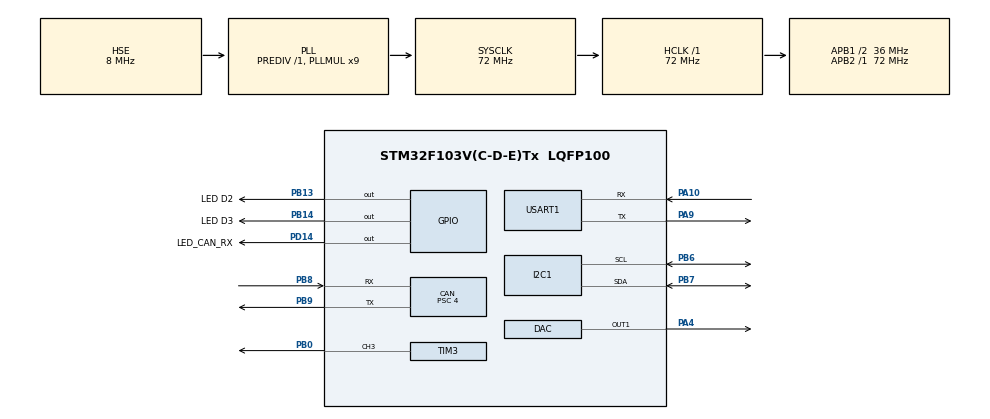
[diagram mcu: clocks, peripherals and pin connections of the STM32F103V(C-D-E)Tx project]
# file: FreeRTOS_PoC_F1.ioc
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ADC1.Channel-0\#ChannelRegularConversion=ADC_CHANNEL_TEMPSENSOR
ADC1.NbrOfConversion=1
ADC1.NbrOfConversionFlag=1
ADC1.Rank-0\#ChannelRegularConversion=1
ADC1.SamplingTime-0\#ChannelRegularConversion=ADC_SAMPLETIME_239CYCLES_5
ADC1.master=1
CAN.BS1=CAN_BS1_14TQ
CAN.BS2=CAN_BS2_3TQ
CAN.CalculateBaudRate=500000
CAN.CalculateTimeBit=2000
CAN.CalculateTimeQuantum=111.11111111111111
CAN.NART=ENABLE
CAN.Prescaler=4
CAN.SJW=CAN_SJW_1TQ
DAC.DAC_Trigger=DAC_TRIGGER_T6_TRGO
Dma.DAC_CH1.1.Direction=DMA_MEMORY_TO_PERIPH
Dma.DAC_CH1.1.Instance=DMA2_Channel3
Dma.DAC_CH1.1.MemDataAlignment=DMA_MDATAALIGN_HALFWORD
Dma.DAC_CH1.1.MemInc=DMA_MINC_ENABLE
Dma.DAC_CH1.1.Mode=DMA_CIRCULAR
Dma.DAC_CH1.1.PeriphDataAlignment=DMA_PDATAALIGN_HALFWORD
Dma.DAC_CH1.1.PeriphInc=DMA_PINC_DISABLE
Dma.DAC_CH1.1.Priority=DMA_PRIORITY_HIGH
Dma.Request0=USART1_TX
Dma.Request1=DAC_CH1
Dma.USART1_TX.0.Direction=DMA_MEMORY_TO_PERIPH
Dma.USART1_TX.0.Instance=DMA1_Channel4
Dma.USART1_TX.0.MemDataAlignment=DMA_MDATAALIGN_BYTE
Dma.USART1_TX.0.MemInc=DMA_MINC_ENABLE
Dma.USART1_TX.0.Mode=DMA_NORMAL
Dma.USART1_TX.0.PeriphDataAlignment=DMA_PDATAALIGN_BYTE
Dma.USART1_TX.0.PeriphInc=DMA_PINC_DISABLE
Dma.USART1_TX.0.Priority=DMA_PRIORITY_LOW
FREERTOS.Tasks01=defaultTask,8,256,StartDefaultTask,Default,NULL,Dynamic,NULL,NULL;uartTask,24,256,StartUartTask,Default,NULL,Dynamic,NULL,NULL;speechConvTask,24,256,StartSpeechConvTask,Default,NULL,Dynamic,NULL,NULL;audioPlaybackTa,32,384,StartAudioPlaybackTask,Default,NULL,Dynamic,NULL,NULL
FREERTOS.configCHECK_FOR_STACK_OVERFLOW=2
FREERTOS.configGENERATE_RUN_TIME_STATS=1
FREERTOS.configTOTAL_HEAP_SIZE=9216
FREERTOS.configUSE_MALLOC_FAILED_HOOK=1
FREERTOS.configUSE_NEWLIB_REENTRANT=1
FREERTOS.configUSE_STATS_FORMATTING_FUNCTIONS=1
Mcu.Family=STM32F1
Mcu.Name=STM32F103V(C-D-E)Tx
Mcu.Package=LQFP100
NVIC.ADC1_2_IRQn=true\:5\:0\:false\:false\:true\:true\:true\:true\:true
NVIC.DMA1_Channel4_IRQn=true\:5\:0\:false\:false\:true\:true\:false\:true\:true
NVIC.DMA2_Channel3_IRQn=true\:5\:0\:false\:false\:true\:true\:false\:true\:true
NVIC.PriorityGroup=NVIC_PRIORITYGROUP_4
NVIC.TIM2_IRQn=true\:4\:0\:true\:false\:true\:false\:false\:true\:true
NVIC.TIM4_IRQn=true\:5\:0\:false\:false\:true\:true\:true\:true\:true
NVIC.TimeBase=TIM2_IRQn
NVIC.TimeBaseIP=TIM2
NVIC.USART1_IRQn=true\:5\:0\:false\:false\:true\:true\:true\:true\:true
NVIC.USB_LP_CAN1_RX0_IRQn=true\:5\:0\:false\:false\:true\:true\:true\:true\:true
OSC_IN.Mode=HSE-External-Oscillator
OSC_IN.Signal=RCC_OSC_IN
OSC_OUT.Mode=HSE-External-Oscillator
OSC_OUT.Signal=RCC_OSC_OUT
PA10.Mode=Asynchronous
PA10.Signal=USART1_RX
PA13.Mode=Serial_Wire
PA13.Signal=SYS_JTMS-SWDIO
PA14.Mode=Serial_Wire
PA14.Signal=SYS_JTCK-SWCLK
PA4.Signal=COMP_DAC1_group
PA9.Mode=Asynchronous
PA9.Signal=USART1_TX
PB0.Signal=S_TIM3_CH3
PB13.GPIO_Label=LED D2
PB13.GPIO_ModeDefaultOutputPP=GPIO_MODE_OUTPUT_OD
PB13.GPIO_PuPd=GPIO_NOPULL
PB13.PinState=GPIO_PIN_SET
PB13.Signal=GPIO_Output
PB14.GPIO_Label=LED D3
PB14.GPIO_ModeDefaultOutputPP=GPIO_MODE_OUTPUT_OD
PB14.GPIO_PuPd=GPIO_NOPULL
PB14.PinState=GPIO_PIN_SET
PB14.Signal=GPIO_Output
PB6.Mode=I2C
PB6.Signal=I2C1_SCL
PB7.Mode=I2C
PB7.Signal=I2C1_SDA
PB8.GPIO_PuPd=GPIO_PULLUP
PB8.Mode=CAN_Activate
PB8.Signal=CAN_RX
PB9.GPIO_Speed=GPIO_SPEED_FREQ_HIGH
PB9.Mode=CAN_Activate
PB9.Signal=CAN_TX
PC14-OSC32_IN.Mode=LSE-External-Oscillator
PC14-OSC32_IN.Signal=RCC_OSC32_IN
PC15-OSC32_OUT.Mode=LSE-External-Oscillator
PC15-OSC32_OUT.Signal=RCC_OSC32_OUT
PD14.GPIO_Label=LED_CAN_RX
PD14.Signal=GPIO_Output
ProjectManager.HeapSize=0x200
ProjectManager.StackSize=0x400
ProjectManager.TargetToolchain=STM32CubeIDE
RCC.ADCPresc=RCC_ADCPCLK2_DIV6
RCC.AHBFreq_Value=72000000
RCC.APB1CLKDivider=RCC_HCLK_DIV2
RCC.APB1Freq_Value=36000000
RCC.APB1TimFreq_Value=72000000
RCC.APB2Freq_Value=72000000
RCC.APB2TimFreq_Value=72000000
RCC.HCLKFreq_Value=72000000
RCC.HSICalibrationValue=8
RCC.PLLMUL=RCC_PLL_MUL9
RCC.PLLSourceVirtual=RCC_PLLSOURCE_HSE
RCC.RTCClockSelection=RCC_RTCCLKSOURCE_LSE
RCC.SYSCLKFreq_VALUE=72000000
RCC.SYSCLKSource=RCC_SYSCLKSOURCE_PLLCLK
RCC.USBFreq_Value=72000000
SH.COMP_DAC1_group.0=DAC_OUT1,DAC_OUT1
SH.S_TIM3_CH3.0=TIM3_CH3,PWM Generation3 CH3
TIM3.Channel-PWM\ Generation3\ CH3=TIM_CHANNEL_3
TIM3.Period=999
TIM3.Prescaler=71
TIM4.Period=9999
TIM4.Prescaler=71
TIM6.AutoReloadPreload=TIM_AUTORELOAD_PRELOAD_ENABLE
TIM6.Period=3264
TIM6.TIM_MasterOutputTrigger=TIM_TRGO_UPDATE
USART1.VirtualMode=VM_ASYNC
VP_ADC1_TempSens_Input.Mode=IN-TempSens
VP_CRC_VS_CRC.Mode=CRC_Activate
VP_FREERTOS_VS_CMSIS_V2.Mode=CMSIS_V2
VP_RTC_VS_RTC_Activate.Mode=RTC_Enabled
VP_SYS_VS_tim2.Mode=TIM2
VP_TIM3_VS_ClockSourceINT.Mode=Internal
VP_TIM4_VS_ClockSourceINT.Mode=Internal
VP_TIM6_VS_ClockSourceINT.Mode=Enable_Timer
board=custom

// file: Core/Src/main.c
/* USER CODE BEGIN Header */
/**
  ******************************************************************************
  * @file           : main.c
  * @brief          : Main program body
  ******************************************************************************
  * @attention
  *
  * Copyright (c) 2026 STMicroelectronics.
  * All rights reserved.
  *
  * This software is licensed under terms that can be found in the LICENSE file
  * in the root directory of this software component.
  * If no LICENSE file comes with this software, it is provided AS-IS.
  *
  ******************************************************************************
  */
/* USER CODE END Header */
#include "main.h"
#include "cmsis_os.h"

/* USER CODE BEGIN Includes */
#include <stdio.h>
#include "my_rtt.h"
#include "uart_driver.h"
#include "uart_task.h"
#include "pwm_led.h"
#include "can_test.h"
#include "speech_conv_task.h"
#include "audio_playback_task.h"
#include "diags.h"
#include "weather.h"
/* USER CODE END Includes */

ADC_HandleTypeDef hadc1;

CAN_HandleTypeDef hcan;

CRC_HandleTypeDef hcrc;

DAC_HandleTypeDef hdac;
DMA_HandleTypeDef hdma_dac_ch1;

I2C_HandleTypeDef hi2c1;

RTC_HandleTypeDef hrtc;

TIM_HandleTypeDef htim3;
TIM_HandleTypeDef htim4;
TIM_HandleTypeDef htim6;

UART_HandleTypeDef huart1;
DMA_HandleTypeDef hdma_usart1_tx;

/* Definitions for defaultTask */
osThreadId_t defaultTaskHandle;
const osThreadAttr_t defaultTask_attributes = {
  .name = "defaultTask",
  .stack_size = 256 * 4,
  .priority = (osPriority_t) osPriorityLow,
};
/* Definitions for uartTask */
osThreadId_t uartTaskHandle;
const osThreadAttr_t uartTask_attributes = {
  .name = "uartTask",
  .stack_size = 256 * 4,
  .priority = (osPriority_t) osPriorityNormal,
};
/* Definitions for speechConvTask */
osThreadId_t speechConvTaskHandle;
const osThreadAttr_t speechConvTask_attributes = {
  .name = "speechConvTask",
  .stack_size = 256 * 4,
  .priority = (osPriority_t) osPriorityNormal,
};
/* Definitions for audioPlaybackTa */
osThreadId_t audioPlaybackTaHandle;
const osThreadAttr_t audioPlaybackTa_attributes = {
  .name = "audioPlaybackTa",
  .stack_size = 384 * 4,
  .priority = (osPriority_t) osPriorityAboveNormal,
};

void SystemClock_Config(void);
static void MX_GPIO_Init(void);
static void MX_DMA_Init(void);
static void MX_RTC_Init(void);
static void MX_USART1_UART_Init(void);
static void MX_CRC_Init(void);
static void MX_TIM3_Init(void);
static void MX_TIM4_Init(void);
static void MX_ADC1_Init(void);
static void MX_CAN_Init(void);
static void MX_DAC_Init(void);
static void MX_TIM6_Init(void);
static void MX_I2C1_Init(void);
void StartDefaultTask(void *argument);
void StartUartTask(void *argument);
void StartSpeechConvTask(void *argument);
void StartAudioPlaybackTask(void *argument);

int main(void)
{

  /* USER CODE BEGIN 1 */
#if defined(DEBUG) && defined(ENABLE_RTT_LOGGING)
  SEGGER_RTT_ConfigUpBuffer(0, NULL, NULL, 0, SEGGER_RTT_MODE_BLOCK_IF_FIFO_FULL);
#endif
  /* USER CODE END 1 */

  /* MCU Configuration--------------------------------------------------------*/

  /* Reset of all peripherals, Initializes the Flash interface and the Systick. */
  HAL_Init();

  /* Configure the system clock */
  SystemClock_Config();

  /* Initialize all configured peripherals */
  MX_GPIO_Init();
  MX_DMA_Init();
  MX_RTC_Init();
  MX_USART1_UART_Init();
  MX_CRC_Init();
  MX_TIM3_Init();
  MX_TIM4_Init();
  MX_ADC1_Init();
  MX_CAN_Init();
  MX_DAC_Init();
  MX_TIM6_Init();
  MX_I2C1_Init();
  /* USER CODE BEGIN 2 */
  PWM_LED_Init();

  CAN_StartDriver();

  if(!WEATHER_Init())
  {
  	RTT_puts(0, "Weather sensors init failed\r\n");
  }

#ifdef DO_CAN_RX
  CAN_RxInit();
  RTT_puts(0, " CAN Rx started\r\n");
#endif

#ifdef DO_CAN_TX
  CAN_TxInit();
#endif

  RTT_puts(0, "Hello from F1 board!\r\n");
  /* USER CODE END 2 */

  /* Init scheduler */
  osKernelInitialize();

  /* USER CODE BEGIN RTOS_SEMAPHORES */
  if(UartDriver_Init() != UART_DRV_OK)
  {
  	Error_Handler();
  }
  /* USER CODE END RTOS_SEMAPHORES */

  /* USER CODE BEGIN RTOS_QUEUES */
  Speech_Init();
  /* USER CODE END RTOS_QUEUES */

  /* Create the thread(s) */
  /* creation of defaultTask */
  defaultTaskHandle = osThreadNew(StartDefaultTask, NULL, &defaultTask_attributes);

  /* creation of uartTask */
  uartTaskHandle = osThreadNew(StartUartTask, NULL, &uartTask_attributes);

  /* creation of speechConvTask */
  speechConvTaskHandle = osThreadNew(StartSpeechConvTask, NULL, &speechConvTask_attributes);

  /* creation of audioPlaybackTa */
  audioPlaybackTaHandle = osThreadNew(StartAudioPlaybackTask, NULL, &audioPlaybackTa_attributes);

  /* Start scheduler */
  osKernelStart();

  /* We should never get here as control is now taken by the scheduler */

  /* Infinite loop */
  while (1)
  {

  }
}

void SystemClock_Config(void)
{
  RCC_OscInitTypeDef RCC_OscInitStruct = {0};
  RCC_ClkInitTypeDef RCC_ClkInitStruct = {0};
  RCC_PeriphCLKInitTypeDef PeriphClkInit = {0};

  /** Initializes the RCC Oscillators according to the specified parameters
  * in the RCC_OscInitTypeDef structure.
  */
  RCC_OscInitStruct.OscillatorType = RCC_OSCILLATORTYPE_HSE|RCC_OSCILLATORTYPE_LSE;
  RCC_OscInitStruct.HSEState = RCC_HSE_ON;
  RCC_OscInitStruct.HSEPredivValue = RCC_HSE_PREDIV_DIV1;
  RCC_OscInitStruct.LSEState = RCC_LSE_ON;
  RCC_OscInitStruct.HSIState = RCC_HSI_ON;
  RCC_OscInitStruct.PLL.PLLState = RCC_PLL_ON;
  RCC_OscInitStruct.PLL.PLLSource = RCC_PLLSOURCE_HSE;
  RCC_OscInitStruct.PLL.PLLMUL = RCC_PLL_MUL9;
  if (HAL_RCC_OscConfig(&RCC_OscInitStruct) != HAL_OK)
  {
    Error_Handler();
  }

  /** Initializes the CPU, AHB and APB buses clocks
  */
  RCC_ClkInitStruct.ClockType = RCC_CLOCKTYPE_HCLK|RCC_CLOCKTYPE_SYSCLK
                              |RCC_CLOCKTYPE_PCLK1|RCC_CLOCKTYPE_PCLK2;
  RCC_ClkInitStruct.SYSCLKSource = RCC_SYSCLKSOURCE_PLLCLK;
  RCC_ClkInitStruct.AHBCLKDivider = RCC_SYSCLK_DIV1;
  RCC_ClkInitStruct.APB1CLKDivider = RCC_HCLK_DIV2;
  RCC_ClkInitStruct.APB2CLKDivider = RCC_HCLK_DIV1;

  if (HAL_RCC_ClockConfig(&RCC_ClkInitStruct, FLASH_LATENCY_2) != HAL_OK)
  {
    Error_Handler();
  }
  PeriphClkInit.PeriphClockSelection = RCC_PERIPHCLK_RTC|RCC_PERIPHCLK_ADC;
  PeriphClkInit.RTCClockSelection = RCC_RTCCLKSOURCE_LSE;
  PeriphClkInit.AdcClockSelection = RCC_ADCPCLK2_DIV6;
  if (HAL_RCCEx_PeriphCLKConfig(&PeriphClkInit) != HAL_OK)
  {
    Error_Handler();
  }
}

static void MX_ADC1_Init(void)
{

  ADC_ChannelConfTypeDef sConfig = {0};

  /** Common config
  */
  hadc1.Instance = ADC1;
  hadc1.Init.ScanConvMode = ADC_SCAN_DISABLE;
  hadc1.Init.ContinuousConvMode = DISABLE;
  hadc1.Init.DiscontinuousConvMode = DISABLE;
  hadc1.Init.ExternalTrigConv = ADC_SOFTWARE_START;
  hadc1.Init.DataAlign = ADC_DATAALIGN_RIGHT;
  hadc1.Init.NbrOfConversion = 1;
  if (HAL_ADC_Init(&hadc1) != HAL_OK)
  {
    Error_Handler();
  }

  /** Configure Regular Channel
  */
  sConfig.Channel = ADC_CHANNEL_TEMPSENSOR;
  sConfig.Rank = ADC_REGULAR_RANK_1;
  sConfig.SamplingTime = ADC_SAMPLETIME_239CYCLES_5;
  if (HAL_ADC_ConfigChannel(&hadc1, &sConfig) != HAL_OK)
  {
    Error_Handler();
  }

}

static void MX_CAN_Init(void)
{

  hcan.Instance = CAN1;
  hcan.Init.Prescaler = 4;
  hcan.Init.Mode = CAN_MODE_NORMAL;
  hcan.Init.SyncJumpWidth = CAN_SJW_1TQ;
  hcan.Init.TimeSeg1 = CAN_BS1_14TQ;
  hcan.Init.TimeSeg2 = CAN_BS2_3TQ;
  hcan.Init.TimeTriggeredMode = DISABLE;
  hcan.Init.AutoBusOff = DISABLE;
  hcan.Init.AutoWakeUp = DISABLE;
  hcan.Init.AutoRetransmission = ENABLE;
  hcan.Init.ReceiveFifoLocked = DISABLE;
  hcan.Init.TransmitFifoPriority = DISABLE;
  if (HAL_CAN_Init(&hcan) != HAL_OK)
  {
    Error_Handler();
  }

}

static void MX_CRC_Init(void)
{

  hcrc.Instance = CRC;
  if (HAL_CRC_Init(&hcrc) != HAL_OK)
  {
    Error_Handler();
  }

}

static void MX_DAC_Init(void)
{

  DAC_ChannelConfTypeDef sConfig = {0};

  /** DAC Initialization
  */
  hdac.Instance = DAC;
  if (HAL_DAC_Init(&hdac) != HAL_OK)
  {
    Error_Handler();
  }

  /** DAC channel OUT1 config
  */
  sConfig.DAC_Trigger = DAC_TRIGGER_T6_TRGO;
  sConfig.DAC_OutputBuffer = DAC_OUTPUTBUFFER_ENABLE;
  if (HAL_DAC_ConfigChannel(&hdac, &sConfig, DAC_CHANNEL_1) != HAL_OK)
  {
    Error_Handler();
  }

}

static void MX_I2C1_Init(void)
{

  hi2c1.Instance = I2C1;
  hi2c1.Init.ClockSpeed = 100000;
  hi2c1.Init.DutyCycle = I2C_DUTYCYCLE_2;
  hi2c1.Init.OwnAddress1 = 0;
  hi2c1.Init.AddressingMode = I2C_ADDRESSINGMODE_7BIT;
  hi2c1.Init.DualAddressMode = I2C_DUALADDRESS_DISABLE;
  hi2c1.Init.OwnAddress2 = 0;
  hi2c1.Init.GeneralCallMode = I2C_GENERALCALL_DISABLE;
  hi2c1.Init.NoStretchMode = I2C_NOSTRETCH_DISABLE;
  if (HAL_I2C_Init(&hi2c1) != HAL_OK)
  {
    Error_Handler();
  }

}

static void MX_RTC_Init(void)
{

  /** Initialize RTC Only
  */
  hrtc.Instance = RTC;
  hrtc.Init.AsynchPrediv = RTC_AUTO_1_SECOND;
  hrtc.Init.OutPut = RTC_OUTPUTSOURCE_ALARM;
  if (HAL_RTC_Init(&hrtc) != HAL_OK)
  {
    Error_Handler();
  }

}

static void MX_TIM3_Init(void)
{

  TIM_ClockConfigTypeDef sClockSourceConfig = {0};
  TIM_MasterConfigTypeDef sMasterConfig = {0};
  TIM_OC_InitTypeDef sConfigOC = {0};

  htim3.Instance = TIM3;
  htim3.Init.Prescaler = 71;
  htim3.Init.CounterMode = TIM_COUNTERMODE_UP;
  htim3.Init.Period = 999;
  htim3.Init.ClockDivision = TIM_CLOCKDIVISION_DIV1;
  htim3.Init.AutoReloadPreload = TIM_AUTORELOAD_PRELOAD_DISABLE;
  if (HAL_TIM_Base_Init(&htim3) != HAL_OK)
  {
    Error_Handler();
  }
  sClockSourceConfig.ClockSource = TIM_CLOCKSOURCE_INTERNAL;
  if (HAL_TIM_ConfigClockSource(&htim3, &sClockSourceConfig) != HAL_OK)
  {
    Error_Handler();
  }
  if (HAL_TIM_PWM_Init(&htim3) != HAL_OK)
  {
    Error_Handler();
  }
  sMasterConfig.MasterOutputTrigger = TIM_TRGO_RESET;
  sMasterConfig.MasterSlaveMode = TIM_MASTERSLAVEMODE_DISABLE;
  if (HAL_TIMEx_MasterConfigSynchronization(&htim3, &sMasterConfig) != HAL_OK)
  {
    Error_Handler();
  }
  sConfigOC.OCMode = TIM_OCMODE_PWM1;
  sConfigOC.Pulse = 0;
  sConfigOC.OCPolarity = TIM_OCPOLARITY_HIGH;
  sConfigOC.OCFastMode = TIM_OCFAST_DISABLE;
  if (HAL_TIM_PWM_ConfigChannel(&htim3, &sConfigOC, TIM_CHANNEL_3) != HAL_OK)
  {
    Error_Handler();
  }
  HAL_TIM_MspPostInit(&htim3);

}

static void MX_TIM4_Init(void)
{

  TIM_ClockConfigTypeDef sClockSourceConfig = {0};
  TIM_MasterConfigTypeDef sMasterConfig = {0};

  htim4.Instance = TIM4;
  htim4.Init.Prescaler = 71;
  htim4.Init.CounterMode = TIM_COUNTERMODE_UP;
  htim4.Init.Period = 9999;
  htim4.Init.ClockDivision = TIM_CLOCKDIVISION_DIV1;
  htim4.Init.AutoReloadPreload = TIM_AUTORELOAD_PRELOAD_DISABLE;
  if (HAL_TIM_Base_Init(&htim4) != HAL_OK)
  {
    Error_Handler();
  }
  sClockSourceConfig.ClockSource = TIM_CLOCKSOURCE_INTERNAL;
  if (HAL_TIM_ConfigClockSource(&htim4, &sClockSourceConfig) != HAL_OK)
  {
    Error_Handler();
  }
  sMasterConfig.MasterOutputTrigger = TIM_TRGO_RESET;
  sMasterConfig.MasterSlaveMode = TIM_MASTERSLAVEMODE_DISABLE;
  if (HAL_TIMEx_MasterConfigSynchronization(&htim4, &sMasterConfig) != HAL_OK)
  {
    Error_Handler();
  }

}

static void MX_TIM6_Init(void)
{

  TIM_MasterConfigTypeDef sMasterConfig = {0};

  htim6.Instance = TIM6;
  htim6.Init.Prescaler = 0;
  htim6.Init.CounterMode = TIM_COUNTERMODE_UP;
  htim6.Init.Period = 3264;
  htim6.Init.AutoReloadPreload = TIM_AUTORELOAD_PRELOAD_ENABLE;
  if (HAL_TIM_Base_Init(&htim6) != HAL_OK)
  {
    Error_Handler();
  }
  sMasterConfig.MasterOutputTrigger = TIM_TRGO_UPDATE;
  sMasterConfig.MasterSlaveMode = TIM_MASTERSLAVEMODE_DISABLE;
  if (HAL_TIMEx_MasterConfigSynchronization(&htim6, &sMasterConfig) != HAL_OK)
  {
    Error_Handler();
  }

}

static void MX_USART1_UART_Init(void)
{

  huart1.Instance = USART1;
  huart1.Init.BaudRate = 115200;
  huart1.Init.WordLength = UART_WORDLENGTH_8B;
  huart1.Init.StopBits = UART_STOPBITS_1;
  huart1.Init.Parity = UART_PARITY_NONE;
  huart1.Init.Mode = UART_MODE_TX_RX;
  huart1.Init.HwFlowCtl = UART_HWCONTROL_NONE;
  huart1.Init.OverSampling = UART_OVERSAMPLING_16;
  if (HAL_UART_Init(&huart1) != HAL_OK)
  {
    Error_Handler();
  }

}

static void MX_DMA_Init(void)
{

  /* DMA controller clock enable */
  __HAL_RCC_DMA1_CLK_ENABLE();
  __HAL_RCC_DMA2_CLK_ENABLE();

  /* DMA interrupt init */
  /* DMA1_Channel4_IRQn interrupt configuration */
  HAL_NVIC_SetPriority(DMA1_Channel4_IRQn, 5, 0);
  HAL_NVIC_EnableIRQ(DMA1_Channel4_IRQn);
  /* DMA2_Channel3_IRQn interrupt configuration */
  HAL_NVIC_SetPriority(DMA2_Channel3_IRQn, 5, 0);
  HAL_NVIC_EnableIRQ(DMA2_Channel3_IRQn);

}

static void MX_GPIO_Init(void)
{
  GPIO_InitTypeDef GPIO_InitStruct = {0};

  /* GPIO Ports Clock Enable */
  __HAL_RCC_GPIOC_CLK_ENABLE();
  __HAL_RCC_GPIOA_CLK_ENABLE();
  __HAL_RCC_GPIOB_CLK_ENABLE();
  __HAL_RCC_GPIOD_CLK_ENABLE();

  /*Configure GPIO pin Output Level */
  HAL_GPIO_WritePin(GPIOB, LED_D2_Pin|LED_D3_Pin, GPIO_PIN_SET);

  /*Configure GPIO pin Output Level */
  HAL_GPIO_WritePin(LED_CAN_RX_GPIO_Port, LED_CAN_RX_Pin, GPIO_PIN_RESET);

  /*Configure GPIO pins : LED_D2_Pin LED_D3_Pin */
  GPIO_InitStruct.Pin = LED_D2_Pin|LED_D3_Pin;
  GPIO_InitStruct.Mode = GPIO_MODE_OUTPUT_OD;
  GPIO_InitStruct.Pull = GPIO_NOPULL;
  GPIO_InitStruct.Speed = GPIO_SPEED_FREQ_LOW;
  HAL_GPIO_Init(GPIOB, &GPIO_InitStruct);

  /*Configure GPIO pin : LED_CAN_RX_Pin */
  GPIO_InitStruct.Pin = LED_CAN_RX_Pin;
  GPIO_InitStruct.Mode = GPIO_MODE_OUTPUT_PP;
  GPIO_InitStruct.Pull = GPIO_NOPULL;
  GPIO_InitStruct.Speed = GPIO_SPEED_FREQ_LOW;
  HAL_GPIO_Init(LED_CAN_RX_GPIO_Port, &GPIO_InitStruct);

}

void StartDefaultTask(void *argument)
{
  /* USER CODE BEGIN 5 */
	TickType_t lastWakeTime = xTaskGetTickCount();

	// turn on LED2
  HAL_GPIO_WritePin(GPIOB, LED_D2_Pin, GPIO_PIN_SET);

  /* Infinite loop */
  for(;;)
  {
  	float temperature = 0;
  	float pressure = 0;
  	float humidity = 0;

//    RTT_puts(0, "Toggle LEDs\r\n");

    // switch LEDs
  	if(HAL_GPIO_ReadPin(GPIOB, LED_D2_Pin) != GPIO_PIN_SET)
  	{
  	  HAL_GPIO_WritePin(GPIOB, LED_D2_Pin, GPIO_PIN_SET);
  	  HAL_GPIO_WritePin(GPIOB, LED_D3_Pin, GPIO_PIN_RESET);
  	}
  	else
  	{
  	  HAL_GPIO_WritePin(GPIOB, LED_D2_Pin, GPIO_PIN_RESET);
  	  HAL_GPIO_WritePin(GPIOB, LED_D3_Pin, GPIO_PIN_SET);
  	}

    if(WEATHER_GetTemperatureAndHumidity(&temperature, &humidity))
    {
    	RTT_printf(0, "T = %d RH = %d\r\n", (int)temperature, (int)humidity);
    }

    if(WEATHER_GetPressure(&pressure))
    {
    	RTT_printf(0, "P = %d\r\n", (int)pressure);
    }

    vTaskDelayUntil(&lastWakeTime, pdMS_TO_TICKS(1000));
  }
  /* USER CODE END 5 */
}

void StartUartTask(void *argument)
{
  /* USER CODE BEGIN StartUartTask */
	UartTask_Run(argument);
  /* USER CODE END StartUartTask */
}

void StartSpeechConvTask(void *argument)
{
  /* USER CODE BEGIN StartSpeechConvTask */
	SpeechConversionTask(argument);
  /* USER CODE END StartSpeechConvTask */
}

void StartAudioPlaybackTask(void *argument)
{
  /* USER CODE BEGIN StartAudioPlaybackTask */
	AudioPlaybackTask(argument);
  /* USER CODE END StartAudioPlaybackTask */
}

void HAL_TIM_PeriodElapsedCallback(TIM_HandleTypeDef *htim)
{
  if (htim->Instance == TIM2)
  {
    HAL_IncTick();
  }
  /* USER CODE BEGIN Callback 1 */
/*	if (htim->Instance == TIM4)
	{
		PWM_LED_DoBreathe();
		return;
	}*/
  /* USER CODE END Callback 1 */
}

void Error_Handler(void)
{
  __disable_irq();
  while (1)
  {
  }
}

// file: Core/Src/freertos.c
/* USER CODE BEGIN Header */
/**
  ******************************************************************************
  * File Name          : freertos.c
  * Description        : Code for freertos applications
  ******************************************************************************
  * @attention
  *
  * Copyright (c) 2026 STMicroelectronics.
  * All rights reserved.
  *
  * This software is licensed under terms that can be found in the LICENSE file
  * in the root directory of this software component.
  * If no LICENSE file comes with this software, it is provided AS-IS.
  *
  ******************************************************************************
  */
/* USER CODE END Header */

#include "FreeRTOS.h"
#include "task.h"
#include "main.h"

/* Hook prototypes */
void configureTimerForRunTimeStats(void);
unsigned long getRunTimeCounterValue(void);
void vApplicationStackOverflowHook(xTaskHandle xTask, signed char *pcTaskName);
void vApplicationMallocFailedHook(void);

/* USER CODE BEGIN 1 */
/* Functions needed when configGENERATE_RUN_TIME_STATS is on */
__weak void configureTimerForRunTimeStats(void)
{

}

__weak unsigned long getRunTimeCounterValue(void)
{
return 0;
}
/* USER CODE END 1 */

/* USER CODE BEGIN 4 */
void vApplicationStackOverflowHook(xTaskHandle xTask, signed char *pcTaskName)
{
   /* Run time stack overflow checking is performed if
   configCHECK_FOR_STACK_OVERFLOW is defined to 1 or 2. This hook function is
   called if a stack overflow is detected. */
  (void)xTask;
  (void)pcTaskName;

  taskDISABLE_INTERRUPTS();

  while (1)
  {
  }
}
/* USER CODE END 4 */

/* USER CODE BEGIN 5 */
void vApplicationMallocFailedHook(void)
{
   /* vApplicationMallocFailedHook() will only be called if
   configUSE_MALLOC_FAILED_HOOK is set to 1 in FreeRTOSConfig.h. It is a hook
   function that will get called if a call to pvPortMalloc() fails.
   pvPortMalloc() is called internally by the kernel whenever a task, queue,
   timer or semaphore is created. It is also called by various parts of the
   demo application. If heap_1.c or heap_2.c are used, then the size of the
   heap available to pvPortMalloc() is defined by configTOTAL_HEAP_SIZE in
   FreeRTOSConfig.h, and the xPortGetFreeHeapSize() API function can be used
   to query the size of free heap space that remains (although it does not
   provide information on how the remaining heap might be fragmented). */
  taskDISABLE_INTERRUPTS();

  while (1)
  {
  }
}
/* USER CODE END 5 */
